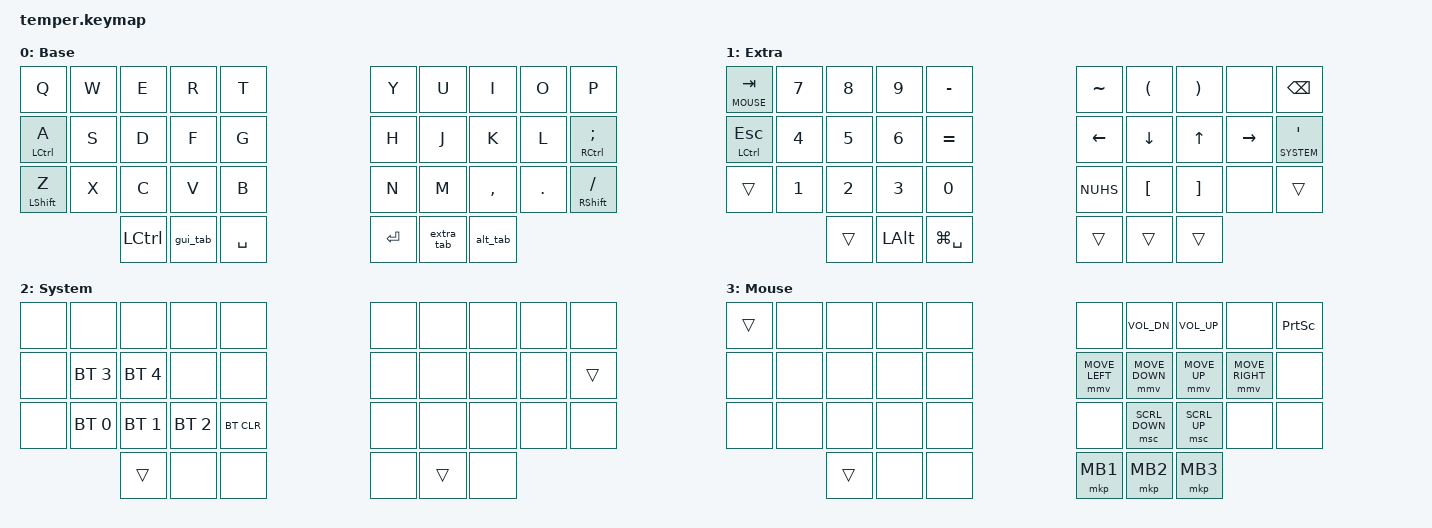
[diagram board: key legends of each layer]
/*
 * Copyright (c) 2020 The ZMK Contributors
 *
 * SPDX-License-Identifier: MIT
 */

#include <behaviors.dtsi>
#include <dt-bindings/zmk/keys.h>
#include <dt-bindings/zmk/bt.h>
#include <dt-bindings/zmk/pointing.h>

#define BASE 0
#define EXTRA 1
#define SYSTEM 2
#define MOUSE 3

// Prioritize fast modifier chords: another key's press selects hold immediately.
&mt {
    flavor = "hold-preferred";
    tapping-term-ms = <180>;
    require-prior-idle-ms = <0>;
    quick-tap-ms = <0>;
};

/ {
    macros {
        alt_switch: alt_switch {
            compatible = "zmk,behavior-macro";
            #binding-cells = <0>;
            wait-ms = <0>;
            tap-ms = <20>;
            bindings = <&macro_press &kp LALT>,
                       <&macro_tap &kp TAB>,
                       <&macro_pause_for_release>,
                       <&macro_release &kp LALT>;
        };

        gui_switch: gui_switch {
            compatible = "zmk,behavior-macro";
            #binding-cells = <0>;
            wait-ms = <0>;
            tap-ms = <20>;
            bindings = <&macro_press &kp LGUI>,
                       <&macro_tap &kp TAB>,
                       <&macro_pause_for_release>,
                       <&macro_release &kp LGUI>;
        };
    };

    behaviors {
        // On the second press, tap Tab once; hold only the modifier until release.
        alt_tab: alt_tab {
            compatible = "zmk,behavior-tap-dance";
            #binding-cells = <0>;
            tapping-term-ms = <200>;
            bindings = <&kp RALT>, <&alt_switch>;
        };

        extra_tab: extra_tab {
            compatible = "zmk,behavior-tap-dance";
            #binding-cells = <0>;
            tapping-term-ms = <200>;
            bindings = <&mo EXTRA>, <&alt_switch>;
        };

        gui_tab: gui_tab {
            compatible = "zmk,behavior-tap-dance";
            #binding-cells = <0>;
            tapping-term-ms = <200>;
            bindings = <&kp LGUI>, <&gui_switch>;
        };
    };

    keymap {
        compatible = "zmk,keymap";

        base_layer {
            display-name = "Base";
            bindings = <
                &kp Q          &kp W       &kp E       &kp R       &kp T       &kp Y       &kp U       &kp I       &kp O       &kp P
                &mt LCTRL A    &kp S       &kp D       &kp F       &kp G       &kp H       &kp J       &kp K       &kp L       &mt RCTRL SEMI
                &mt LSHFT Z    &kp X       &kp C       &kp V       &kp B       &kp N       &kp M       &kp COMMA   &kp DOT     &mt RSHFT FSLH
                                           &kp LCTRL   &gui_tab    &kp SPACE   &kp RET     &extra_tab   &alt_tab
            >;
        };

        extra_layer {
            display-name = "Extra";
            bindings = <
                &lt MOUSE TAB  &kp N7      &kp N8      &kp N9      &kp MINUS   &kp TILDE   &kp LPAR    &kp RPAR    &none       &kp BSPC
                &mt LCTRL ESC  &kp N4      &kp N5      &kp N6      &kp EQUAL   &kp LEFT    &kp DOWN    &kp UP      &kp RIGHT   &lt SYSTEM APOS
                &trans         &kp N1      &kp N2      &kp N3      &kp N0      &kp NUHS    &kp LBKT    &kp RBKT    &none       &trans
                                           &trans      &kp LALT    &kp LG(SPACE) &trans    &trans      &trans
            >;
        };

        system_layer {
            display-name = "System";
            // Profiles 1-5 in physical key labels use ZMK's zero-based indices 0-4.
            bindings = <
                &none          &none         &none         &none         &none        &none       &none       &none       &none       &none
                &none          &bt BT_SEL 3  &bt BT_SEL 4   &none         &none        &none       &none       &none       &none       &trans
                &none          &bt BT_SEL 0  &bt BT_SEL 1   &bt BT_SEL 2   &bt BT_CLR   &none       &none       &none       &none       &none
                                             &trans         &none         &none        &none       &trans      &none
            >;
        };

        mouse_layer {
            display-name = "Mouse";
            bindings = <
                &trans         &none       &none       &none       &none       &none          &kp C_VOL_DN  &kp C_VOL_UP  &none          &kp PSCRN
                &none          &none       &none       &none       &none       &mmv MOVE_LEFT &mmv MOVE_DOWN &mmv MOVE_UP  &mmv MOVE_RIGHT &none
                &none          &none       &none       &none       &none       &none          &msc SCRL_DOWN &msc SCRL_UP &none          &none
                                           &trans       &none       &none       &mkp MB1       &mkp MB2       &mkp MB3
            >;
        };
    };
};
